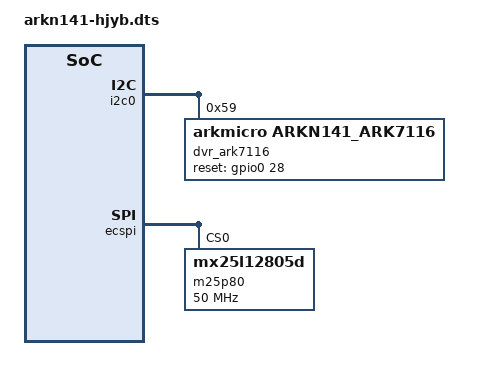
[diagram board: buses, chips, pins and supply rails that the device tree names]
// SPDX-License-Identifier: GPL-2.0
/dts-v1/;
#include "arkn141.dtsi"
#include "arkn141-pinctrl.dtsi"
#include <dt-bindings/gpio/gpio.h>

/ {
	sound {
		//compatible = "arkmicro,arkn141-audio";
		compatible = "simple-audio-card";
		simple-audio-card,format = "i2s";
		simple-audio-card,name = "arkn141-audio";
		#address-cells = <1>;
		#size-cells = <0>;

		simple-audio-card,dai-link@0 {		/* I2S - dac */
			reg = <0>;
			cpu {
				sound-dai = <&i2s_dac>;
			};
			codec {
				sound-dai = <&sddac>;
			};
		};

		simple-audio-card,dai-link@1 {		/* I2S - adc */
			reg = <1>;
			format = "i2s";
			cpu {
				sound-dai = <&i2s_adc>;
			};
			codec {
				sound-dai = <&sdadc>;
			};
		};
	};

	reserved-memory {
		#address-cells = <1>;
		#size-cells = <1>;
		ranges;

		/* global autoconfigured region for contiguous allocations */
		linux,cma {
			compatible = "shared-dma-pool";
			reusable;
			size = <0x3000000>;
			linux,cma-default;
		};
	};
};

&i2c0 {
    dvr_ark7116: dvr_ark7116@B2 {
        compatible = "arkmicro,arkn141_ark7116";
        reg = <0x59>; /* i2c address(7 bits) */
        reset-gpio = <&gpio0 28 0>;
        default-channel = <0>;
    };
};

&ecspi {
	m25p80@0 {
		#address-cells = <1>;
		#size-cells = <1>;
		compatible = "mx25l12805d";
		reg = <0>; /* Chip select 0 */
		spi-max-frequency = <50000000>;
	};
};

&lcdc {
	display = <&display0>;
	pinctrl-names = "default";
	pinctrl-0 = <&pinctrl_lcd_base &pinctrl_lcd_rgb888>;

	display0: display@0 {
		interface-type = "TTL";
		bits-per-pixel = <32>;
		//power-control-gpio = <&gpio2 17 GPIO_ACTIVE_HIGH>;
		lcd-wiring-mode = "BGR";
		//lcdcon-backlight;
		//pwms = <&pwm0 1 50000>;
		//pwm-names = "backlight";
		//backlight-value = <20>;
		//backlight-delay = <200>;

		display-timings {
			native-mode = <&timing0>;
			timing0: timing0 {
				clock-frequency = <32000000>;
				hactive = <800>;
				vactive = <480>;
				hback-porch = <16>;
				hfront-porch = <210>;
				vback-porch = <12>;
				vfront-porch = <22>;
				hsync-len = <30>;
				vsync-len = <13>;
				hsync-active = <1>;
				vsync-active = <1>;
				de-active = <0>;
				pixelclk-active = <0>;
			};
		};
	};
};
